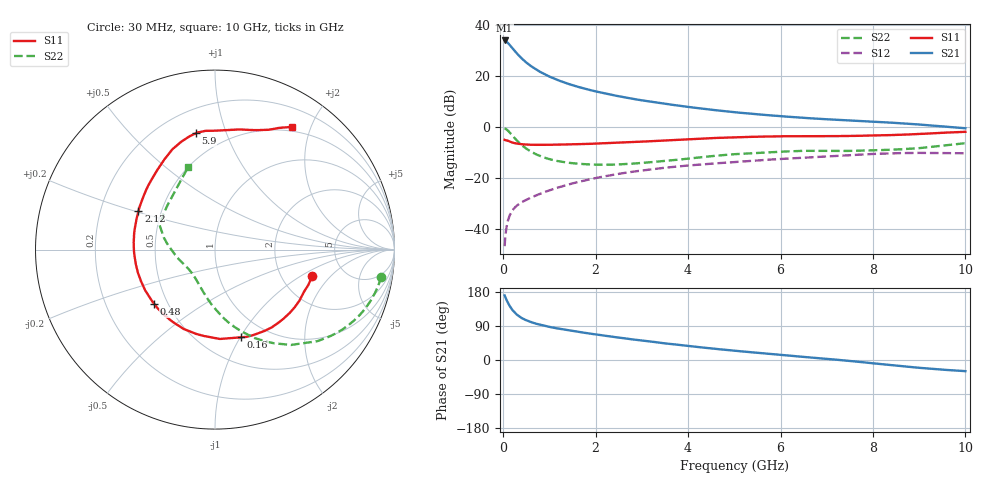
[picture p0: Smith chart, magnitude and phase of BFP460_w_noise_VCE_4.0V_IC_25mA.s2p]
! (c) 2016  Infineon Technologies AG, Munich
! Infineon Technologies  Discrete & RF Semiconductors
! BFP460
! VCE =  4.0 V,  IC =  25 mA
! Common Emitter S-Parameters:  Jan 2016
# GHz  S  MA  R  50
!  f  S11  S21  S12  S22
! GHz  MAG  ANG  MAG  ANG  MAG  ANG  MAG  ANG
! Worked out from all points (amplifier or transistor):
!   229 points, 30 MHz to 10 GHz, reference 50 ohm
!   highest |S21| = 34.0 dB at 30 MHz (marker M1)
!   |S21| within 3 dB of that: start of sweep to 197.5 MHz
!   unconditionally stable (mu >= 1): 1.658 GHz to 7.61 GHz
!   at 280 MHz: K = 0.47, MSG = 30.1 dB, |S12| = -31.1 dB
!   at 1.78 GHz: K = 1.01, MAG = 17.4 dB, |S12| = -20.9 dB
!   at 10 GHz: K = 0.97, MSG = 4.9 dB, |S12| = -10.3 dB
!   lowest NFmin = 1.36 dB at 450 MHz
!   S11 on the Smith chart (normalised r, x): 30 MHz: 2.94, -1.28; 160 MHz: 0.77, -1.01; 480 MHz: 0.42, -0.32; 2.12 GHz: 0.37, +0.21; 5.9 GHz: 0.35, +0.79; 10 GHz: 0.44, +1.72
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0.03  0.5608 -15.4  50.03 170.4  0.0046 82.5  0.9379 -9.3
0.05  0.5486 -25.5  48.6 164.2  0.0078 79.6  0.9235 -15.2
0.07  0.548 -35.9  47.47 158.8  0.0106 74.1  0.8995 -21.4
0.09  0.5419 -45.6  45.7 153.8  0.0131 72.0  0.8697 -27.0
0.12  0.5306 -58.5  42.83 146.7  0.0165 67.8  0.819 -34.8
0.16  0.5099 -73.3  38.84 138.8  0.0201 63.1  0.7464 -43.6
0.2  0.4987 -86.8  35.21 131.7  0.0233 59.9  0.6791 -51.5
0.24  0.485 -97.6  31.86 126.3  0.0258 57.6  0.6177 -57.7
0.3  0.4754 -111.4  27.59 119.2  0.029 55.4  0.5395 -65.9
0.4  0.4607 -128.2  22.22 110.7  0.0334 54.1  0.4433 -76.0
0.48  0.4542 -138.2  19.13 105.9  0.0365 54.1  0.3885 -82.3
0.7  0.4483 -157.1  13.66 96.1  0.0451 55.4  0.295 -95.5
0.9  0.4487 -168.5  10.81 90.0  0.0532 56.6  0.2497 -104.3
1.2  0.4524 179.0  8.215 82.7  0.0657 57.4  0.2133 -114.9
1.7  0.4634 163.7  5.867 72.8  0.0871 56.6  0.1885 -128.2
2.12  0.4777 153.2  4.739 65.5  0.105 54.5  0.1824 -138.3
3.4  0.5389 128.3  2.949 45.5  0.1554 45.0  0.2125 -167.1
5.1  0.6332 106.3  1.918 23.4  0.2089 32.4  0.2965 165.6
5.9  0.6568 99.4  1.663 14.5  0.2337 26.5  0.3247 158.7
6.8  0.6624 91.8  1.458 5.1  0.2589 20.1  0.3409 154.1
8.4  0.6963 73.1  1.219 -13.5  0.3054 6.0  0.3594 138.4
10  0.8063 57.9  0.947 -29.4  0.3062 -6.6  0.4824 108.0
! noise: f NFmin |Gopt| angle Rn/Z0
0.45  1.36  0.13  -171  0.13
0.9  1.38  0.11  -170  0.13
1.9  1.49  0.23  -146  0.13
3.5  1.42  0.46  -122  0.16
